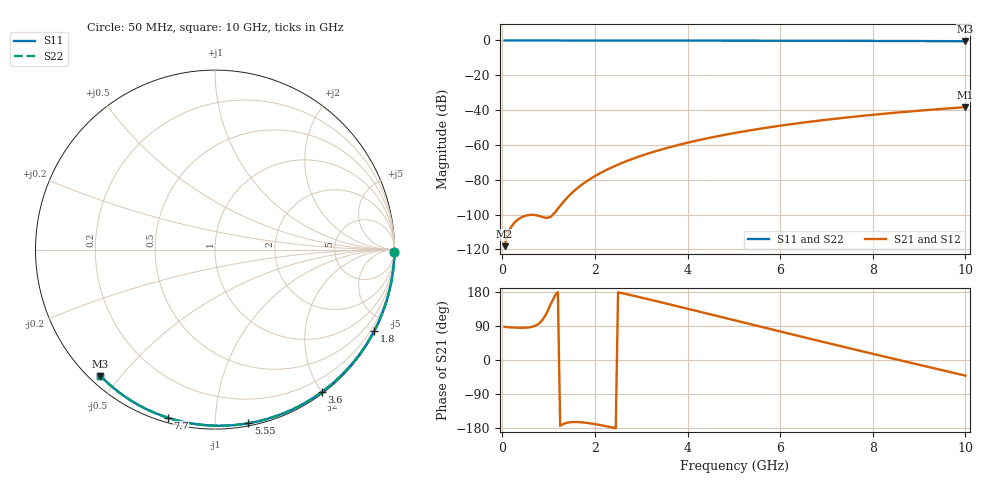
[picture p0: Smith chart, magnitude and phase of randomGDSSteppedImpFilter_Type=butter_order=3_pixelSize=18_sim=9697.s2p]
! freq	dB(S11)	phase(S11)	dB(S12)	phase(S12)
!  dB(S21)	phase(S21)	dB(S22)	phase(S22)
!S-par simulation data
#  GHz  S  DB  R 50
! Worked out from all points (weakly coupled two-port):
!   200 points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, 50 MHz to 10 GHz, reference 50 ohm
!   highest |S21| = -38.32 dB at 10 GHz (marker M1); lowest = -118.2 dB at 50 MHz (marker M2)
!   lowest |S11| = -0.4 dB at 10 GHz (marker M3), VSWR 38.90, Z = 1.54 - j22.1 ohm
!   |S11| at or under -10 dB: nowhere
!   |S22| runs from -0.4 to 0.0 dB; largest |S21 - S12| = 0
!   S11 on the Smith chart (normalised r, x): 50 MHz: open; 1.8 GHz: 0.04, -4.15; 3.6 GHz: 0.02, -2.01; 5.55 GHz: 0.02, -1.21; 7.7 GHz: 0.02, -0.76; 10 GHz: 0.03, -0.44
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0.05  -0.00 -0.8  -118.18 87.6  -118.18 87.6  -0.00 -0.8
0.9  -0.02 -13.7  -101.69 111.8  -101.69 111.8  -0.02 -13.7
1.75  -0.03 -26.4  -82.21 -164.9  -82.21 -164.9  -0.03 -26.4
1.8  -0.03 -27.1  -81.27 -165.5  -81.27 -165.5  -0.03 -27.1
1.85  -0.04 -27.8  -80.38 -166.3  -80.38 -166.3  -0.04 -27.8
1.9  -0.04 -28.6  -79.53 -167.2  -79.53 -167.2  -0.04 -28.6
2.05  -0.04 -30.8  -77.15 -170.2  -77.15 -170.2  -0.04 -30.8
2.25  -0.04 -33.7  -74.35 -174.9  -74.35 -174.9  -0.04 -33.7
2.45  -0.05 -36.6  -71.88 -180.0  -71.88 -180.0  -0.05 -36.6
2.65  -0.05 -39.5  -69.66 174.6  -69.66 174.6  -0.05 -39.5
3  -0.06 -44.5  -66.25 164.8  -66.25 164.8  -0.06 -44.5
3.4  -0.07 -50.2  -62.92 153.1  -62.92 153.1  -0.07 -50.2
3.6  -0.07 -53.0  -61.43 147.2  -61.43 147.2  -0.07 -53.0
4.3  -0.09 -62.6  -56.92 126.3  -56.92 126.3  -0.09 -62.6
5.05  -0.11 -72.6  -53.00 103.7  -53.00 103.7  -0.11 -72.6
5.55  -0.13 -79.2  -50.77 88.7  -50.77 88.7  -0.13 -79.2
6.1  -0.15 -86.2  -48.59 72.3  -48.59 72.3  -0.15 -86.2
6.7  -0.18 -93.6  -46.50 54.4  -46.50 54.4  -0.18 -93.6
7.7  -0.24 -105.7  -43.51 25.0  -43.51 25.0  -0.24 -105.7
8.35  -0.29 -113.3  -41.83 6.2  -41.83 6.2  -0.29 -113.3
9.15  -0.36 -122.6  -40.01 -16.9  -40.01 -16.9  -0.36 -122.6
10  -0.45 -132.2  -38.32 -41.3  -38.32 -41.3  -0.45 -132.2
